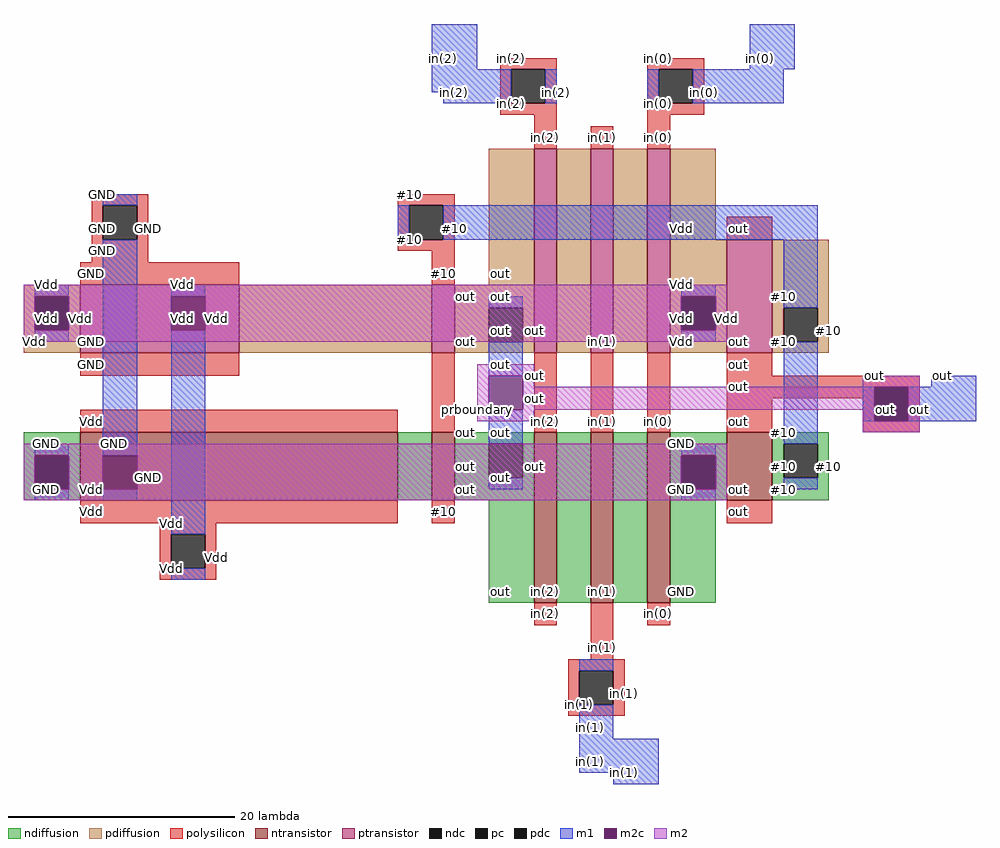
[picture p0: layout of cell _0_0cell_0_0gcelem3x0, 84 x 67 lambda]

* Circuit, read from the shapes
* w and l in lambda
.subckt _0_0cell_0_0gcelem3x0 in(0) out in(2) in(1)
M1 n1 Vdd GND VSUBS nfet w=6 l=28
M2 out #10 n1 VSUBS nfet w=6 l=2
M3 n2 in(2) out VSUBS nfet w=15 l=2
M4 n3 in(1) n2 VSUBS nfet w=15 l=2
M5 GND in(0) n3 VSUBS nfet w=15 l=2
M6 #10 out GND VSUBS nfet w=6 l=4
M7 n4 GND Vdd NWELL pfet w=6 l=14
M8 out #10 n4 NWELL pfet w=6 l=2
M9 n5 in(2) out NWELL pfet w=18 l=2
M10 n6 in(1) n5 NWELL pfet w=18 l=2
M11 Vdd in(0) n6 NWELL pfet w=18 l=2
M12 #10 out Vdd NWELL pfet w=10 l=4
.ends

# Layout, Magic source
magic
tech sky130l
<< ndiffusion >>
rect 8 34 13 36
rect 8 31 9 34
rect 12 31 13 34
rect 8 30 13 31
rect 41 30 44 36
rect 46 35 53 36
rect 46 32 49 35
rect 52 32 53 35
rect 46 30 53 32
rect 49 21 53 30
rect 55 21 58 36
rect 60 21 63 36
rect 65 34 70 36
rect 65 31 66 34
rect 69 31 70 34
rect 65 30 70 31
rect 74 35 79 36
rect 74 32 75 35
rect 78 32 79 35
rect 74 30 79 32
rect 65 21 69 30
<< ndc >>
rect 9 31 12 34
rect 49 32 52 35
rect 66 31 69 34
rect 75 32 78 35
<< ntransistor >>
rect 13 30 41 36
rect 44 30 46 36
rect 53 21 55 36
rect 58 21 60 36
rect 63 21 65 36
rect 70 30 74 36
<< pdiffusion >>
rect 49 49 53 61
rect 8 48 13 49
rect 8 45 9 48
rect 12 45 13 48
rect 8 43 13 45
rect 27 43 44 49
rect 46 47 53 49
rect 46 44 49 47
rect 52 44 53 47
rect 46 43 53 44
rect 55 43 58 61
rect 60 43 63 61
rect 65 53 69 61
rect 65 48 70 53
rect 65 45 66 48
rect 69 45 70 48
rect 65 43 70 45
rect 74 47 79 53
rect 74 44 75 47
rect 78 44 79 47
rect 74 43 79 44
<< pdc >>
rect 9 45 12 48
rect 49 44 52 47
rect 66 45 69 48
rect 75 44 78 47
<< ptransistor >>
rect 13 43 27 49
rect 44 43 46 49
rect 53 43 55 61
rect 58 43 60 61
rect 63 43 65 61
rect 70 43 74 53
<< polysilicon >>
rect 50 68 55 69
rect 50 65 51 68
rect 54 65 55 68
rect 50 64 55 65
rect 53 61 55 64
rect 63 68 68 69
rect 63 65 64 68
rect 67 65 68 68
rect 63 64 68 65
rect 58 61 60 63
rect 63 61 65 64
rect 14 56 19 57
rect 14 53 15 56
rect 18 53 19 56
rect 14 51 19 53
rect 41 56 46 57
rect 41 53 42 56
rect 45 53 46 56
rect 41 52 46 53
rect 13 49 27 51
rect 44 49 46 52
rect 70 53 74 55
rect 13 41 27 43
rect 13 36 41 38
rect 44 36 46 43
rect 53 36 55 43
rect 58 36 60 43
rect 63 36 65 43
rect 70 41 74 43
rect 70 40 87 41
rect 70 39 83 40
rect 70 36 74 39
rect 82 37 83 39
rect 86 37 87 40
rect 82 36 87 37
rect 13 28 41 30
rect 44 28 46 30
rect 20 27 25 28
rect 20 24 21 27
rect 24 24 25 27
rect 20 23 25 24
rect 70 28 74 30
rect 53 19 55 21
rect 58 16 60 21
rect 63 19 65 21
rect 56 15 61 16
rect 56 12 57 15
rect 60 12 61 15
rect 56 11 61 12
<< pc >>
rect 51 65 54 68
rect 64 65 67 68
rect 15 53 18 56
rect 42 53 45 56
rect 83 37 86 40
rect 21 24 24 27
rect 57 12 60 15
<< m1 >>
rect 44 68 48 72
rect 72 68 76 72
rect 44 66 51 68
rect 45 65 51 66
rect 54 65 55 68
rect 63 65 64 68
rect 67 65 75 68
rect 15 56 18 57
rect 41 53 42 56
rect 45 53 78 56
rect 9 48 12 49
rect 9 44 12 45
rect 9 34 12 35
rect 9 30 12 31
rect 15 34 18 53
rect 15 30 18 31
rect 21 48 24 49
rect 66 48 69 49
rect 21 27 24 45
rect 49 47 52 48
rect 66 44 69 45
rect 75 47 78 53
rect 49 41 52 44
rect 49 35 52 38
rect 75 35 78 44
rect 88 40 92 41
rect 82 37 83 40
rect 86 37 92 40
rect 49 31 52 32
rect 66 34 69 35
rect 75 31 78 32
rect 66 30 69 31
rect 21 23 24 24
rect 57 15 60 16
rect 57 9 60 12
rect 57 6 64 9
rect 60 5 64 6
<< m2c >>
rect 9 45 12 48
rect 9 31 12 34
rect 15 31 18 34
rect 21 45 24 48
rect 66 45 69 48
rect 49 38 52 41
rect 83 37 86 40
rect 66 31 69 34
<< m2 >>
rect 8 48 70 49
rect 8 45 9 48
rect 12 45 21 48
rect 24 45 66 48
rect 69 45 70 48
rect 8 44 70 45
rect 48 41 53 42
rect 48 38 49 41
rect 52 40 53 41
rect 82 40 87 41
rect 52 38 83 40
rect 48 37 53 38
rect 82 37 83 38
rect 86 37 87 40
rect 82 36 87 37
rect 8 34 70 35
rect 8 31 9 34
rect 12 31 15 34
rect 18 31 66 34
rect 69 31 70 34
rect 8 30 70 31
<< labels >>
rlabel space 0 0 96 76 6 prboundary
rlabel pdiffusion 79 45 79 45 3 #10
rlabel ndiffusion 79 33 79 33 3 #10
rlabel polysilicon 71 37 71 37 3 out
rlabel polysilicon 71 40 71 40 3 out
rlabel polysilicon 71 41 71 41 3 out
rlabel polysilicon 71 42 71 42 3 out
rlabel pdiffusion 75 44 75 44 3 #10
rlabel pdiffusion 75 45 75 45 3 #10
rlabel pdiffusion 75 48 75 48 3 #10
rlabel polysilicon 71 54 71 54 3 out
rlabel polysilicon 64 62 64 62 3 in(0)
rlabel polysilicon 64 65 64 65 3 in(0)
rlabel polysilicon 64 69 64 69 3 in(0)
rlabel polysilicon 71 29 71 29 3 out
rlabel ndiffusion 75 31 75 31 3 #10
rlabel ndiffusion 75 33 75 33 3 #10
rlabel ndiffusion 75 36 75 36 3 #10
rlabel polysilicon 64 37 64 37 3 in(0)
rlabel ptransistor 71 44 71 44 3 out
rlabel ntransistor 71 31 71 31 3 out
rlabel pdiffusion 66 44 66 44 3 Vdd
rlabel pdiffusion 66 46 66 46 3 Vdd
rlabel pdiffusion 66 49 66 49 3 Vdd
rlabel pdiffusion 66 54 66 54 3 Vdd
rlabel polysilicon 59 62 59 62 3 in(1)
rlabel ndiffusion 66 22 66 22 3 GND
rlabel ndiffusion 66 31 66 31 3 GND
rlabel ndiffusion 66 32 66 32 3 GND
rlabel ndiffusion 66 35 66 35 3 GND
rlabel polysilicon 59 37 59 37 3 in(1)
rlabel ptransistor 64 44 64 44 3 in(0)
rlabel polysilicon 64 20 64 20 3 in(0)
rlabel ntransistor 64 22 64 22 3 in(0)
rlabel polysilicon 54 62 54 62 3 in(2)
rlabel polysilicon 61 13 61 13 3 in(1)
rlabel polysilicon 54 37 54 37 3 in(2)
rlabel ptransistor 59 44 59 44 3 in(1)
rlabel polysilicon 51 65 51 65 3 in(2)
rlabel polysilicon 51 66 51 66 3 in(2)
rlabel polysilicon 51 69 51 69 3 in(2)
rlabel polysilicon 59 17 59 17 3 in(1)
rlabel ntransistor 59 22 59 22 3 in(1)
rlabel ndiffusion 53 33 53 33 3 out
rlabel pdiffusion 53 45 53 45 3 out
rlabel pdiffusion 50 50 50 50 3 out
rlabel polysilicon 57 12 57 12 3 in(1)
rlabel polysilicon 57 13 57 13 3 in(1)
rlabel polysilicon 57 16 57 16 3 in(1)
rlabel ptransistor 54 44 54 44 3 in(2)
rlabel polysilicon 54 20 54 20 3 in(2)
rlabel ntransistor 54 22 54 22 3 in(2)
rlabel polysilicon 25 25 25 25 3 Vdd
rlabel ndiffusion 47 31 47 31 3 out
rlabel ndiffusion 47 33 47 33 3 out
rlabel ndiffusion 47 36 47 36 3 out
rlabel pdiffusion 47 44 47 44 3 out
rlabel pdiffusion 47 45 47 45 3 out
rlabel pdiffusion 47 48 47 48 3 out
rlabel polysilicon 45 50 45 50 3 #10
rlabel polysilicon 19 54 19 54 3 GND
rlabel ndiffusion 50 22 50 22 3 out
rlabel polysilicon 45 29 45 29 3 #10
rlabel ntransistor 45 31 45 31 3 #10
rlabel polysilicon 45 37 45 37 3 #10
rlabel ptransistor 45 44 45 44 3 #10
rlabel polysilicon 42 53 42 53 3 #10
rlabel polysilicon 42 57 42 57 3 #10
rlabel polysilicon 21 24 21 24 3 Vdd
rlabel polysilicon 21 25 21 25 3 Vdd
rlabel polysilicon 21 28 21 28 3 Vdd
rlabel polysilicon 15 52 15 52 3 GND
rlabel polysilicon 15 54 15 54 3 GND
rlabel polysilicon 15 57 15 57 3 GND
rlabel polysilicon 14 29 14 29 3 Vdd
rlabel ntransistor 14 31 14 31 3 Vdd
rlabel polysilicon 14 37 14 37 3 Vdd
rlabel polysilicon 14 42 14 42 3 GND
rlabel ptransistor 14 44 14 44 3 GND
rlabel polysilicon 14 50 14 50 3 GND
rlabel pdiffusion 9 44 9 44 3 Vdd
rlabel m1 73 69 73 69 3 in(0)
port 1 e
rlabel m1 89 41 89 41 3 out
port 2 e
rlabel m1 68 66 68 66 3 in(0)
port 1 e
rlabel pc 65 66 65 66 3 in(0)
port 1 e
rlabel m1 64 66 64 66 3 in(0)
port 1 e
rlabel m1 55 66 55 66 3 in(2)
port 3 e
rlabel ndc 76 33 76 33 3 #10
rlabel m1 76 36 76 36 3 #10
rlabel pdc 76 45 76 45 3 #10
rlabel m1 76 48 76 48 3 #10
rlabel pc 52 66 52 66 3 in(2)
port 3 e
rlabel m1 76 32 76 32 3 #10
rlabel m1 46 66 46 66 3 in(2)
port 3 e
rlabel m1 46 54 46 54 3 #10
rlabel m1 45 67 45 67 3 in(2)
port 3 e
rlabel m1 45 69 45 69 3 in(2)
port 3 e
rlabel m1 67 35 67 35 3 GND
rlabel m1 67 45 67 45 3 Vdd
rlabel m1 67 49 67 49 3 Vdd
rlabel pc 43 54 43 54 3 #10
rlabel m1 22 49 22 49 3 Vdd
rlabel m1 42 54 42 54 3 #10
rlabel m1 61 6 61 6 3 in(1)
port 4 e
rlabel m1 67 31 67 31 3 GND
rlabel m1 50 32 50 32 3 out
port 2 e
rlabel ndc 50 33 50 33 3 out
port 2 e
rlabel m1 50 36 50 36 3 out
port 2 e
rlabel m1 50 42 50 42 3 out
port 2 e
rlabel pdc 50 45 50 45 3 out
port 2 e
rlabel m1 50 48 50 48 3 out
port 2 e
rlabel m1 58 7 58 7 3 in(1)
port 4 e
rlabel m1 58 10 58 10 3 in(1)
port 4 e
rlabel pc 58 13 58 13 3 in(1)
port 4 e
rlabel m1 58 16 58 16 3 in(1)
port 4 e
rlabel m1 16 31 16 31 3 GND
rlabel m1 16 35 16 35 3 GND
rlabel pc 16 54 16 54 3 GND
rlabel m1 16 57 16 57 3 GND
rlabel m1 22 24 22 24 3 Vdd
rlabel pc 22 25 22 25 3 Vdd
rlabel m1 22 28 22 28 3 Vdd
rlabel m1 10 31 10 31 3 GND
rlabel m1 10 35 10 35 3 GND
rlabel m1 10 45 10 45 3 Vdd
rlabel m1 10 49 10 49 3 Vdd
rlabel m2 83 41 83 41 3 out
port 2 e
rlabel m2 53 39 53 39 3 out
port 2 e
rlabel m2 53 41 53 41 3 out
port 2 e
rlabel m2 70 32 70 32 3 GND
rlabel m2c 50 39 50 39 3 out
port 2 e
rlabel m2 70 46 70 46 3 Vdd
rlabel m2c 67 32 67 32 3 GND
rlabel m2 49 38 49 38 3 out
port 2 e
rlabel m2 49 39 49 39 3 out
port 2 e
rlabel m2 49 42 49 42 3 out
port 2 e
rlabel m2c 67 46 67 46 3 Vdd
rlabel m2 19 32 19 32 3 GND
rlabel m2 87 38 87 38 3 out
port 2 e
rlabel m2 25 46 25 46 3 Vdd
rlabel m2c 16 32 16 32 3 GND
rlabel m2c 84 38 84 38 3 out
port 2 e
rlabel m2c 22 46 22 46 3 Vdd
rlabel m2 13 32 13 32 3 GND
rlabel m2 83 37 83 37 3 out
port 2 e
rlabel m2 83 38 83 38 3 out
port 2 e
rlabel m2 13 46 13 46 3 Vdd
rlabel m2c 10 32 10 32 3 GND
rlabel m2c 10 46 10 46 3 Vdd
rlabel m2 9 31 9 31 3 GND
rlabel m2 9 32 9 32 3 GND
rlabel m2 9 35 9 35 3 GND
rlabel m2 9 45 9 45 3 Vdd
rlabel m2 9 46 9 46 3 Vdd
rlabel m2 9 49 9 49 3 Vdd
<< end >>
